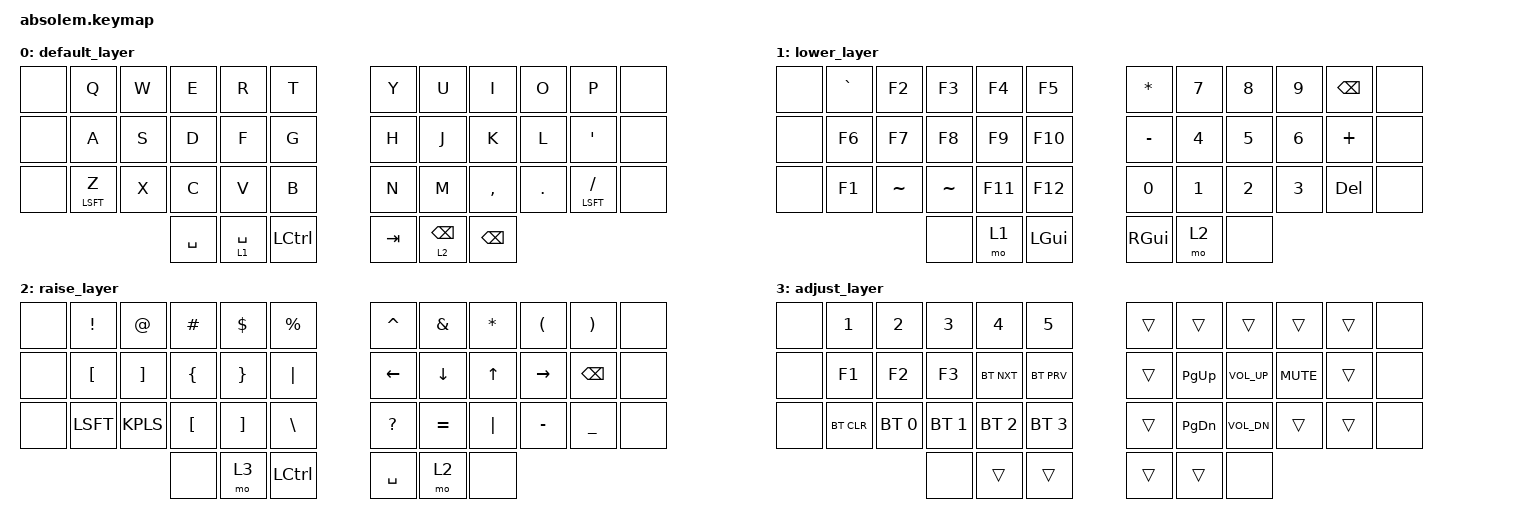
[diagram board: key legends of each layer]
/*
 * Copyright (c) 2020 The ZMK Contributors
 *
 * SPDX-License-Identifier: MIT
 */

#include <behaviors.dtsi>
#include <dt-bindings/zmk/keys.h>
#include <dt-bindings/zmk/bt.h>
#include <dt-bindings/zmk/ext_power.h>


#define DEFAULT 0
#define LOWER   1
#define RAISE   2
#define ADJUST  3
#define LWR LOWER
#define RSE RAISE
#define ADJ ADJUST

&mt {
    flavor = "tap-preferred";
    tapping-term-ms = <250>;
    quick_tap_ms = <180>;
};

&lt {
    /* flavor = "balanced"; */
    quick_tap_ms = <200>;
    tapping-term-ms = <180>;
};

/ {
        combos {
           compatible = "zmk,combos";
           combo_esc {
            timeout-ms = <50>;
            key-positions = <13 14>;
            bindings = <&kp ESC>;
        };
        
         combo_tab {
            timeout-ms = <50>;
            key-positions = <1 2>;
            bindings = <&kp TAB>;
        };
        
            combo_bspc {
            timeout-ms = <50>;
            key-positions = <9 10>;
            bindings = <&kp BSPC>;
        };
        
            combo_lalt {
            timeout-ms = <50>;
            key-positions = <14 15>;
            bindings = <&kp LALT>;
        };
        
            combo_lgui {
            timeout-ms = <50>;
            key-positions = <15 16>;
            bindings = <&kp LGUI>;
        };
        
        
            combo_ret {
            timeout-ms = <50>;
            key-positions = <21 22>;
            bindings = <&kp RET>;
        };
        
            combo_ralt {                                                                                                                          
            timeout-ms = <50>;                                                                                                                    
            key-positions = <19 20>;                                                                                                                
            bindings = <&kp RALT>;                                                                                                                
        };

	    combo_rgui {
	    timeout-ms = <50>;
	    key-positions = <20 21>;
	    bindings = <&kp RGUI>;
	};
           combo_lpar {
              timeout-ms = <50>;
              key-positions = <25 26>;
              bindings = <&kp LPAR>;
        };

           combo_rpar {
              timeout-ms = <50>;
              key-positions = <33 34>;
              bindings = <&kp RPAR>;
          };
        };

        conditional_layers {
            compatible = "zmk,conditional-layers";
            tri_layer {
                if-layers = <LOWER RAISE>;
                then-layer = <ADJUST>;
            };
        };

        keymap {
                compatible = "zmk,keymap";

                default_layer {
                        bindings = <
         &none  &kp Q &kp W &kp E &kp R &kp T 				&kp Y &kp U  &kp I &kp O   &kp P &none
	 &none  &kp A &kp S &kp D &kp F &kp G 			        &kp H &kp J  &kp K &kp L   &kp SQT &none
	 &none  &mt LSFT Z &kp X &kp C &kp V &kp B			&kp N &kp M  &kp CMMA &kp DOT &mt LSFT FSLH &none
          	&kp SPC	&lt 1 SPC &kp LCTL  				&kp TAB &lt 2 BSPC &kp BSPC
   /*&none &kp Q      &kp W      &kp E       &kp R        &kp T         &kp Y         &kp U        &kp I        &kp O      &kp P         &none
   &none &mt LCMD A &mt RALT S &mt LCTRL D &mt LSHFT F  &kp G         &kp H         &mt RSHFT J  &mt RCTRL K  &mt RALT L &mt RCMD SEMI &none
   &none &kp Z      &mt LALT X &kp C       &kp V        &kp B         &kp N         &kp M        &kp COMMA    &kp DOT    &kp FSLH      &none
                               &lt RSE ESC &lt LWR QUOT &kp SPACE     &mt RSHFT RET &lt RSE BSPC &lt LWR TAB*/
                        >;
                };
                lower_layer {
                        bindings = <
          &none &kp GRAVE &kp F2      &kp F3    &kp F4    &kp F5		    &kp ASTRK &kp NUM_7  &kp NUM_8 &kp NUM_9 &kp BSPC &none 
	  &none &kp F6    &kp F7      &kp F8    &kp F9    &kp F10 		  &kp MINUS &kp NUM_4  &kp NUM_5 &kp NUM_6 &kp PLUS &none  
	  &none &kp F1    &kp TILDE 	&kp TILDE &kp F11   &kp F12 	    &kp NUM_0 &kp NUM_1  &kp NUM_2 &kp NUM_3  &kp DEL &none 
			&none  &mo 1  &kp LGUI  					&kp RGUI &mo 2 &none 
   /*&none &kp N1   &kp N2   &kp N3      &kp N4       &kp N5        &kp N6   &kp N7         &kp N8       &kp N9         &kp N0     &none
   &none &kp LCMD &kp RALT &kp LCTRL   &kp LSHFT    &none         &kp LEFT &mt RSHFT DOWN &mt RCTRL UP &mt RALT RIGHT &kp RCMD   &none
   &none &none    &kp LALT &none       &kp Y        &none         &kp HOME &kp PG_DN      &kp PG_UP    &mt LALT END   &caps_word &none
                           &lt RSE ESC &lt LWR QUOT &kp SPACE     &mt RSHFT RET &mo RSE &lt LWR TAB*/
                        >;
                };
                raise_layer {
                        bindings = <
          &none &kp EXCL  &kp AT &kp HASH  &kp DLLR  &kp PRCNT    			&kp CARET  &kp AMPS &kp ASTRK &kp LPAR &kp RPAR &none
	  &none	&kp LBKT  &kp RBKT  &kp LBRC &kp RBRC &kp PIPE                          &kp LEFT &kp DOWN  &kp UP  &kp RIGHT   &kp BSPC &none
	  &none	&kp LSFT  &kp KPLS &kp LBKT &kp RBKT   &kp BSLH    			&kp QMARK &kp EQUAL &kp PIPE &kp MINUS  &kp UNDER &none
					&none  &mo 3 &kp LCTL  				&kp SPC  &mo 2 &none
   /*&none &kp EXCL    &kp AT      &kp HASH     &kp DLLR     &kp PRCNT       &kp CARET     &kp AMPS        &kp KP_MULTIPLY &kp LPAR      &kp RPAR      &none
   &none &mt LCMD F1 &mt RALT F2 &mt LCTRL F3 &mt LSHFT F4 &kp F5          &kp MINUS     &mt RSHFT EQUAL &mt RCTRL LBKT  &mt RALT RBKT &mt RCMD BSLH &none
   &none &kp F6      &mt LALT F7 &kp F8       &kp F9       &kp F10         &kp UNDER     &kp PLUS        &kp LBRC        &kp RBRC      &kp PIPE      &none
                                 &lt RSE ESC  &mo LWR      &kp GRAVE       &mt RSHFT RET &lt RSE BSPC    &lt LWR TAB*/
                        >;
                };
                adjust_layer {
                        bindings = <
          &none &kp NUM_1  &kp NUM_2    &kp NUM_3    &kp NUM_4    &kp NUM_5 			&trans &trans   &trans   &trans  &trans &none
  	  &none	&kp F1 &kp F2 &kp F3 &bt BT_NXT &bt BT_PRV  				        &trans &kp PG_UP  &kp K_VOL_UP &kp K_MUTE &trans &none
	  &none	&bt BT_CLR  &bt BT_SEL 0 &bt BT_SEL 1 &bt BT_SEL 2 &bt BT_SEL 3   				&trans &kp PG_DN  &kp K_VOL_DN  &trans &trans   &none
				    &none &trans &trans  					&trans &trans &none
   /*&none &bt BT_CLR   &none        &none        &none        &none            &none           &kp K_MUTE   &none &none &bootloader &none
   &none &bt BT_SEL 0 &bt BT_SEL 1 &bt BT_SEL 2 &bt BT_SEL 3 &bt BT_SEL 4     &kp C_BRI_UP    &kp C_VOL_UP &none &none &reset      &none
   &none &none        &none        &none        &none        &none            &kp C_BRI_DN    &kp C_VOL_DN &none &none &none       &none
                                   &none        &none        &none            &none           &none        &none*/
                        >;
                };
        };
};



/*
/ {
    keymap {
        compatible = "zmk,keymap";

        default_layer {

            bindings = <
                &kp Q    &kp W &kp F &kp P &kp B        			&kp J &kp L &kp U &kp HU_Y &kp HU_AA
                &kp A    &kp R &kp S &kp T &kp G        			&kp M &kp N &kp E &kp I    &kp O
                &kp HU_Z &kp X &kp C &kp D &kp V        			&kp K &kp H &sl 1 &sl 2    &kp HU_EE
                &mt LCTL TAB &lt 3 SPACE &mt LC(LS(LALT)) RET      	&sk LSFT &lt 4 BKSP   &mt LGUI ESC
            >;
        };



        sym_layer {

            bindings = <
                &kp HU_MORE &kp HU_RCBR &kp HU_RBKT  &kp HU_RPRN  &kp HU_BSLS  	    &kp HU_TILD &kp HU_CIRC &kp HU_PARA &kp HU_EURO &kp HU_AT
                &kp HU_LESS &kp HU_LCBR &kp HU_LBKT  &kp HU_LPRN  &kp HU_SLSH       &kp HU_PERC &kp HU_ASTR &kp HU_RING &kp HU_COLN &kp HU_SCLN
                &kp HU_HASH &kp HU_DLR  &kp HU_QST   &kp HU_EXLM  &kp HU_PIPE 	    &kp HU_AMPR &kp HU_EQL  &trans      &kp HU_PLUS &kp HU_GRV
                                        &kp HU_UNDS  &kp HU_QUOT  &kp HU_DQOT		&kp HU_DOT  &kp HU_COMM &kp HU_MINS
            >;
        };


    
        msc_layer {

            bindings = <
                &trans    &kp HU_UEE &kp HU_UE   &kp HU_UU   &trans         	&trans     &trans      &trans      &trans &trans
                &kp HU_II &kp HU_OEE &kp HU_OE   &kp HU_OO   &trans             &trans     &trans      &trans      &trans &trans
                &trans    &trans     &trans      &trans      &trans         	&trans     &trans      &trans      &trans &trans
                                     &kp HU_UNDS &kp HU_QUOT &kp HU_DQOT		&kp HU_DOT &kp HU_COMM &kp HU_MINS
            >;
        };



        nav_layer {

            bindings = <
                &kp K_MUTE   &kp K_PREV &kp K_PP  &kp K_NEXT &kp K_VOL_UP  		    &none     &kp PG_UP &kp SPACE &kp PG_DN &kp INS
                &sk LGUI     &sk LALT   &sk LSFT  &sk LCTL   &kp K_VOL_DN   		&kp K_APP &kp LEFT  &kp UP    &kp RIGHT &kp TAB
                &kp LC(HU_Z) &kp LC(X)  &kp LC(C) &kp LC(D)  &kp LC(V) 		        &none     &kp HOME  &kp DOWN  &kp END   &kp RET
                                        &trans    &trans     &trans                 &kp DEL   &kp BKSP  &kp ESC
            >;
        };



        num_layer {

            bindings = <
                &kp F1    &kp F2    &kp F3    &kp F4          &kp F5  		          &kp HU_MINS &kp HU_7 &kp HU_8 &kp HU_9 &kp BKSP
                &kp F6    &kp F7    &kp F8    &kp F9          &kp F10   		      &kp HU_0    &kp HU_4 &kp HU_5 &kp HU_6 &kp HU_DOT
                &kp F11   &kp F12   &kp F13	  &kp PRINTSCREEN &kp PAUSE_BREAK 		  &kp HU_PLUS &kp HU_1 &kp HU_2 &kp HU_3 &kp HU_COMM
                                    &kp TAB   &kp SPACE       &kp RET 			      &trans 	  &trans   &trans
            >;
        };

          
    };
};*/
